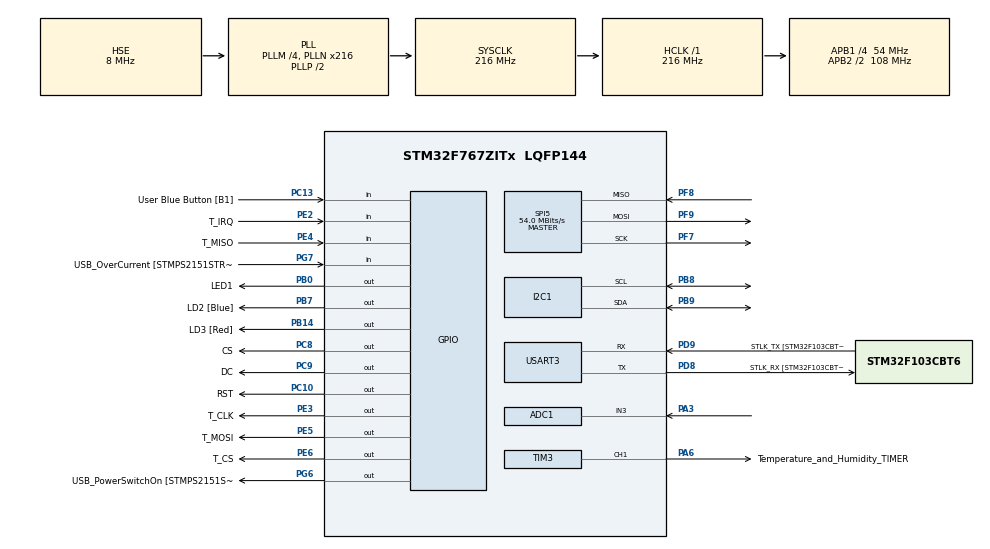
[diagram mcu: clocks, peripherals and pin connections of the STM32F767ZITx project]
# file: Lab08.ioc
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ADC1.Channel-0\#ChannelRegularConversion=ADC_CHANNEL_3
ADC1.ContinuousConvMode=DISABLE
ADC1.EOCSelection=ADC_EOC_SEQ_CONV
ADC1.ExternalTrigConv=ADC_EXTERNALTRIGCONV_T2_TRGO
ADC1.NbrOfConversionFlag=1
ADC1.Rank-0\#ChannelRegularConversion=1
ADC1.SamplingTime-0\#ChannelRegularConversion=ADC_SAMPLETIME_28CYCLES
ADC1.master=1
CORTEX_M7.ART_ACCLERATOR_ENABLE=1
CORTEX_M7.CPU_DCache=Enabled
CORTEX_M7.CPU_ICache=Enabled
CORTEX_M7.PREFETCH_ENABLE=1
I2C1.Timing=0x20404768
Mcu.Family=STM32F7
Mcu.Name=STM32F767ZITx
Mcu.Package=LQFP144
NVIC.ADC_IRQn=true\:2\:0\:true\:false\:true\:true\:true\:true
NVIC.I2C1_ER_IRQn=true\:0\:0\:false\:false\:true\:true\:true\:true
NVIC.I2C1_EV_IRQn=true\:0\:0\:false\:false\:true\:true\:true\:true
NVIC.PriorityGroup=NVIC_PRIORITYGROUP_4
NVIC.TIM3_IRQn=true\:1\:0\:true\:false\:true\:true\:true\:true
PA1.GPIO_Label=RMII_REF_CLK [LAN8742A-CZ-TR_REFCLK0]
PA1.Signal=ETH_REF_CLK
PA13.GPIO_Label=TMS
PA13.Mode=Serial_Wire
PA13.Signal=SYS_JTMS-SWDIO
PA14.GPIO_Label=TCK
PA14.Mode=Serial_Wire
PA14.Signal=SYS_JTCK-SWCLK
PA2.GPIO_Label=RMII_MDIO [LAN8742A-CZ-TR_MDIO]
PA2.Signal=ETH_MDIO
PA3.Signal=ADCx_IN3
PA5.Signal=S_TIM2_CH1_ETR
PA6.GPIO_Label=Temperature_and_Humidity_TIMER
PA6.GPIO_Speed=GPIO_SPEED_FREQ_VERY_HIGH
PA6.Signal=S_TIM3_CH1
PA7.GPIO_Label=RMII_CRS_DV [LAN8742A-CZ-TR_CRS_DV]
PA7.Signal=ETH_CRS_DV
PB0.GPIO_Label=LED1
PB0.Signal=GPIO_Output
PB10.Signal=I2C2_SCL
PB11.Signal=I2C2_SDA
PB13.GPIO_Label=RMII_TXD1 [LAN8742A-CZ-TR_TXD1]
PB13.Signal=ETH_TXD1
PB14.GPIO_Label=LD3 [Red]
PB14.Signal=GPIO_Output
PB3.GPIO_Label=SWO
PB3.Signal=SYS_JTDO-SWO
PB6.GPIO_FM6=__NULL
PB6.GPIO_Label=LCD_LED_BACKLIGHT
PB6.GPIO_Speed=GPIO_SPEED_FREQ_VERY_HIGH
PB6.Signal=S_TIM4_CH1
PB7.GPIO_Label=LD2 [Blue]
PB7.Signal=GPIO_Output
PB8.GPIO_Speed=GPIO_SPEED_FREQ_VERY_HIGH
PB8.Mode=I2C
PB8.Signal=I2C1_SCL
PB9.GPIO_Speed=GPIO_SPEED_FREQ_VERY_HIGH
PB9.Mode=I2C
PB9.Signal=I2C1_SDA
PC1.GPIO_Label=RMII_MDC [LAN8742A-CZ-TR_MDC]
PC1.Signal=ETH_MDC
PC10.GPIO_Label=RST
PC10.GPIO_Speed=GPIO_SPEED_FREQ_VERY_HIGH
PC10.Signal=GPIO_Output
PC13.GPIO_Label=User Blue Button [B1]
PC13.Signal=GPIO_Input
PC14/OSC32_IN.Mode=LSE-External-Oscillator
PC14/OSC32_IN.Signal=RCC_OSC32_IN
PC15/OSC32_OUT.Mode=LSE-External-Oscillator
PC15/OSC32_OUT.Signal=RCC_OSC32_OUT
PC4.GPIO_Label=RMII_RXD0 [LAN8742A-CZ-TR_RXD0]
PC4.Signal=ETH_RXD0
PC5.GPIO_Label=RMII_RXD1 [LAN8742A-CZ-TR_RXD1]
PC5.Signal=ETH_RXD1
PC8.GPIO_Label=CS
PC8.GPIO_Speed=GPIO_SPEED_FREQ_VERY_HIGH
PC8.Signal=GPIO_Output
PC9.GPIO_Label=DC
PC9.GPIO_Speed=GPIO_SPEED_FREQ_VERY_HIGH
PC9.Signal=GPIO_Output
PD8.GPIO_Label=STLK_RX [STM32F103CBT6_PA3]
PD8.Mode=Asynchronous
PD8.Signal=USART3_TX
PD9.GPIO_Label=STLK_TX [STM32F103CBT6_PA2]
PD9.Mode=Asynchronous
PD9.Signal=USART3_RX
PE2.GPIO_Label=T_IRQ
PE2.Signal=GPIO_Input
PE3.GPIO_Label=T_CLK
PE3.GPIO_Speed=GPIO_SPEED_FREQ_VERY_HIGH
PE3.Signal=GPIO_Output
PE4.GPIO_Label=T_MISO
PE4.Signal=GPIO_Input
PE5.GPIO_Label=T_MOSI
PE5.GPIO_Speed=GPIO_SPEED_FREQ_VERY_HIGH
PE5.Signal=GPIO_Output
PE6.GPIO_Label=T_CS
PE6.GPIO_Speed=GPIO_SPEED_FREQ_VERY_HIGH
PE6.Signal=GPIO_Output
PF7.Mode=Full_Duplex_Master
PF7.Signal=SPI5_SCK
PF8.Mode=Full_Duplex_Master
PF8.Signal=SPI5_MISO
PF9.Mode=Full_Duplex_Master
PF9.Signal=SPI5_MOSI
PG11.GPIO_Label=RMII_TX_EN [LAN8742A-CZ-TR_TXEN]
PG11.Signal=ETH_TX_EN
PG13.GPIO_Label=RMII_TXD0 [LAN8742A-CZ-TR_TXD0]
PG13.Signal=ETH_TXD0
PG6.GPIO_Label=USB_PowerSwitchOn [STMPS2151STR_EN]
PG6.Signal=GPIO_Output
PG7.GPIO_Label=USB_OverCurrent [STMPS2151STR_FAULT]
PG7.Signal=GPIO_Input
PH0/OSC_IN.GPIO_Label=MCO [STM32F103CBT6_PA8]
PH0/OSC_IN.Mode=HSE-External-Clock-Source
PH0/OSC_IN.Signal=RCC_OSC_IN
PH1/OSC_OUT.Mode=HSE-External-Clock-Source
PH1/OSC_OUT.Signal=RCC_OSC_OUT
ProjectManager.HeapSize=0x200
ProjectManager.StackSize=0x400
ProjectManager.TargetToolchain=STM32CubeIDE
RCC.48MHZClocksFreq_Value=24000000
RCC.AHBFreq_Value=216000000
RCC.APB1CLKDivider=RCC_HCLK_DIV4
RCC.APB1Freq_Value=54000000
RCC.APB1TimFreq_Value=108000000
RCC.APB2CLKDivider=RCC_HCLK_DIV2
RCC.APB2Freq_Value=108000000
RCC.APB2TimFreq_Value=216000000
RCC.CortexFreq_Value=216000000
RCC.HCLKFreq_Value=216000000
RCC.HSE_VALUE=8000000
RCC.HSI_VALUE=16000000
RCC.PLLM=4
RCC.PLLMUL=RCC_PLL_MUL9
RCC.PLLN=216
RCC.PLLQ=9
RCC.PLLSourceVirtual=RCC_PLLSOURCE_HSE
RCC.PRESCALERUSB=RCC_USBCLKSOURCE_PLL_DIV1_5
RCC.SYSCLKFreq_VALUE=216000000
RCC.SYSCLKSource=RCC_SYSCLKSOURCE_PLLCLK
RCC.SYSCLKSourceVirtual=RCC_SYSCLKSOURCE_PLLCLK
RCC.USBFreq_Value=48000000
RCC.VCOOutputFreq_Value=432000000
SH.ADCx_IN3.0=ADC1_IN3,IN3
SH.S_TIM2_CH1_ETR.0=TIM2_CH1
SH.S_TIM3_CH1.0=TIM3_CH1,PWM Generation1 CH1
SH.S_TIM4_CH1.0=TIM4_CH1
SPI5.CalculateBaudRate=54.0 MBits/s
SPI5.DataSize=SPI_DATASIZE_8BIT
SPI5.Direction=SPI_DIRECTION_2LINES
SPI5.Mode=SPI_MODE_MASTER
SPI5.NSSPMode=SPI_NSS_PULSE_DISABLE
SPI5.VirtualType=VM_MASTER
TIM1.ClockDivision=TIM_CLOCKDIVISION_DIV2
TIM1.Period=0
TIM1.Prescaler=10000-1
TIM2.Period=10000-1
TIM2.Prescaler=10800-1
TIM2.TIM_MasterOutputTrigger=TIM_TRGO_UPDATE
TIM3.Channel-PWM\ Generation1\ CH1=TIM_CHANNEL_1
TIM3.Period=10000-1
TIM3.Prescaler=10800-1
TIM3.Pulse-PWM\ Generation1\ CH1=10000/4-1
USART3.VirtualMode-Asynchronous=VM_ASYNC
VP_RNG_VS_RNG.Mode=RNG_Activate
VP_TIM1_VS_ClockSourceINT.Mode=Internal
VP_TIM2_VS_ClockSourceINT.Mode=Internal
VP_TIM3_VS_ClockSourceINT.Mode=Internal
board=NUCLEO-F767ZI

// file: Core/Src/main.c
/* USER CODE BEGIN Header */
/**
 ******************************************************************************
 * @file           : main.c
 * @brief          : Main program body
 ******************************************************************************
 * @attention
 *
 * Copyright (c) 2023 STMicroelectronics.
 * All rights reserved.
 *
 * This software is licensed under terms that can be found in the LICENSE file
 * in the root directory of this software component.
 * If no LICENSE file comes with this software, it is provided AS-IS.
 *
 ******************************************************************************
 */
/* USER CODE END Header */
#include "main.h"
#include "adc.h"
#include "i2c.h"
#include "rng.h"
#include "spi.h"
#include "tim.h"
#include "usart.h"
#include "gpio.h"

/* USER CODE BEGIN Includes */
#include "stdio.h"
#include "string.h"

#include "ILI9341_Touchscreen.h"
#include "ILI9341_STM32_Driver.h"
#include "ILI9341_GFX.h"

#include "snow_tiger.h"

#include "Utilities/my_lcd.h"
#include "Utilities/my_basic.h"
#include "Utilities/my_picture.h"

/* USER CODE END Includes */

/* USER CODE BEGIN PD */
typedef struct _ColorInfo
{
	Circle circle;
	uint16_t color;
	float intensity;
} ColorInfo ;

typedef struct _StudentInfo
{
	char group[20];
	char firstName[30];
	char lastName[30];
	char id[10];
	Image image;
} StudentInfo;

/* USER CODE END PD */

/* USER CODE BEGIN PV */
const uint8_t SCREEN_ROTATION = SCREEN_HORIZONTAL_1;

uint32_t countSecondInStudentPage = 0;

const uint16_t BRIGHT_RED = 0xff3c;
const uint16_t BRIGHT_GREEN = 0xcff9;
const uint16_t BRIGHT_BLUE = 0xe73f;

/* USER CODE END PV */

void SystemClock_Config(void);

/* USER CODE BEGIN 0 */
void getTemperatureText(float temperature, char *temperatureString) {
	sprintf(temperatureString, "%.1f C", temperature);
}

void getHumidityText(float humidity, char *humidityString) {
	sprintf(humidityString, "%.1f %%RH", humidity);
}

uint16_t convertColorToRgb565(float redIntensity, float greenIntensity, float blueIntensity) {
  uint16_t red = (uint16_t)(redIntensity * 31.0 + 0.5);
  uint16_t green = (uint16_t)(greenIntensity * 63.0 + 0.5);
  uint16_t blue = (uint16_t)(blueIntensity * 31.0 + 0.5);

  uint16_t color = (red << 11) | (green << 5) | blue;

  return color;
}

Rectangle createColorBox(Circle circle)
{
	const uint16_t BOX_WIDTH = 130;
	const uint16_t BOX_HEIGHT = 20;
	const uint16_t GAP_X_CIRCLE_AND_BOX = 15;

	Rectangle rectangle = {
			getCircleEdgeX(circle) + GAP_X_CIRCLE_AND_BOX,
			circle.y - (circle.radius / 2),
			getCircleEdgeX(circle) + GAP_X_CIRCLE_AND_BOX + BOX_WIDTH,
			circle.y + BOX_HEIGHT
	};
	return rectangle;
}

Rectangle createColorIntensityBar(Rectangle refRectangle, float colorIntensity)
{
//	const uint16_t BOX_WIDTH = 130;

	Rectangle intensityBar = {
			refRectangle.x0,
			refRectangle.y0,
			refRectangle.x0 + (int) (colorIntensity * (refRectangle.x1 - refRectangle.x0)),
			refRectangle.y1
	};
	return intensityBar;
}

void drawColorIntensityBar(Rectangle colorBox, ColorInfo colorInfo, uint16_t brightColor)
{

	Rectangle colorIntensityBar = createColorIntensityBar(colorBox, colorInfo.intensity);

	drawFilledRectangleAtCoord(colorBox, brightColor);
	drawFilledRectangleAtCoord(colorIntensityBar, colorInfo.color);
}

void drawColorIntensityPercentageText(Rectangle colorBox, ColorInfo colorInfo)
{
	char text[10];
	const uint8_t GAP_X_BOX_AND_PERCENTAGE = 10;
	const uint8_t COLOR_PERCENTAGE_FONT_SIZE = 2;

	Point percentagePoint = {colorBox.x1 + GAP_X_BOX_AND_PERCENTAGE, colorBox.y0};
	Rectangle clearArea = {percentagePoint.x, percentagePoint.y, percentagePoint.x + 50, percentagePoint.y + 20};

	sprintf(text, "%d%%", (int) (colorInfo.intensity * 100));

	clearScreenArea(clearArea, WHITE);
	drawTextAtPoint(text, percentagePoint, COLOR_PERCENTAGE_FONT_SIZE);
}

void drawHueCircle(ColorInfo mixedColorInfo)
{
	drawFilledCircleAtCoord(mixedColorInfo.circle, mixedColorInfo.color);
}

void drawColorInfo(ColorInfo colorInfo, uint16_t brightColor)
{
	Rectangle boxArea = createColorBox(colorInfo.circle);
	drawFilledCircleAtCoord(colorInfo.circle, colorInfo.color);
	drawColorIntensityBar(boxArea, colorInfo, brightColor);
	drawColorIntensityPercentageText(boxArea, colorInfo);
}

void drawRgbInfo(ColorInfo redColor, ColorInfo greenColor, ColorInfo blueColor, ColorInfo mixedColor)
{
	drawHueCircle(mixedColor);
	drawColorInfo(redColor, BRIGHT_RED);
	drawColorInfo(greenColor, BRIGHT_GREEN);
	drawColorInfo(blueColor, BRIGHT_BLUE);
}

uint8_t isTouchWithinCircle(Circle circle, uint16_t xPos, uint16_t yPos)
{
	uint16_t xPositive = getCircleEdgeX(circle);
	uint16_t xNegative = getCircleEdgeXNegative(circle);
	uint16_t yPositive = getCircleEdgeY(circle);
	uint16_t yNegative = getCircleEdgeYNegative(circle);

	if (xPos > xNegative && xPos < xPositive && yPos > yNegative && yPos < yPositive)
	{
		return 1;
	} else
	{
		return 0;
	}
}

uint8_t isTouchWithinRectangle(Rectangle rectangle, uint16_t xPos, uint16_t yPos)
{
	if (xPos >= rectangle.x0 && xPos <= rectangle.x1 && yPos <= rectangle.y1 && yPos >= rectangle.y0)
	{
		return 1;
	} else
	{
		return 0;
	}

}

void addColorIntensity(ColorInfo *colorInfo)
{
	const float MAX_INTENSITY = 1.0;
	const float STEP_INTENSITY = 0.1;

	if (colorInfo->intensity >= MAX_INTENSITY) {
		colorInfo->intensity = 0.0;
	} else
	{
		colorInfo->intensity += STEP_INTENSITY;
	}
}

void drawTouchPosition(uint16_t xPos, uint16_t yPos)
{
	char text[20];
	sprintf(text, "T: (%d,%d)", xPos, yPos);
	drawText(text, 50, 180, 3);
}

void checkTouchHueCircle(ColorInfo *redColor, ColorInfo *greenColor, ColorInfo *blueColor, ColorInfo *mixedColor)
{
	uint16_t xPos = 0;
	uint16_t yPos = 0;

	int isDisplaying = 1;

	while (isDisplaying) {
		HAL_Delay(10);

		if (TP_Touchpad_Pressed())
		{
			uint16_t position_array[2];

			if (TP_Read_Coordinates(position_array) == TOUCHPAD_DATA_OK)
			{
				if (SCREEN_ROTATION == SCREEN_HORIZONTAL_1)
				{
					xPos = position_array[1];
					yPos = SCREEN_HEIGHT - position_array[0];
				} else if (SCREEN_ROTATION == SCREEN_HORIZONTAL_2)
				{
					xPos = SCREEN_WIDTH - position_array[1];
					yPos = position_array[0];
				}
			}

			if (isTouchWithinCircle(redColor->circle, xPos, yPos))
			{
				addColorIntensity(redColor);
				drawColorInfo(*redColor, BRIGHT_RED);
			} else if (isTouchWithinCircle(greenColor->circle, xPos, yPos))
			{
				addColorIntensity(greenColor);
				drawColorInfo(*greenColor, BRIGHT_GREEN);
			} else if (isTouchWithinCircle(blueColor->circle, xPos, yPos))
			{
				addColorIntensity(blueColor);
				drawColorInfo(*blueColor, BRIGHT_BLUE);
			} else if (isTouchWithinCircle(mixedColor->circle, xPos, yPos))
			{
				isDisplaying = 0;
			}

			mixedColor->color = convertColorToRgb565(redColor->intensity, greenColor->intensity, blueColor->intensity);
			drawHueCircle(*mixedColor);
		}
	}
}

void startTimerInStudentInfoPage()
{
	countSecondInStudentPage = 0;
	HAL_TIM_Base_Init(&htim2);
	HAL_TIM_Base_Start(&htim2);
	HAL_ADC_Start_IT(&hadc1);
}

void stopTimerInStudentInfoPage()
{
	HAL_TIM_Base_DeInit(&htim2);
	HAL_ADC_Stop_IT(&hadc1);
}

void startTimerOnSensor()
{
	HAL_TIM_Base_Start_IT(&htim3);
}

void stopTimerOnSensor()
{
	HAL_TIM_Base_Stop_IT(&htim3);
}

void drawColorInfoPage(ColorInfo *redColor, ColorInfo *greenColor, ColorInfo *blueColor, ColorInfo *mixedColor)
{
	fillScreenColor(WHITE);
	setRotation(SCREEN_ROTATION);

	startTimerOnSensor();
	drawRgbInfo(*redColor, *greenColor, *blueColor, *mixedColor);
	checkTouchHueCircle(redColor, greenColor, blueColor, mixedColor);
	stopTimerOnSensor();
}

void drawStudentInfoText(StudentInfo studentInfo, Point endImagePoint, uint16_t textColor)
{
	const int LINE_SPACEING_SIZE = 40;
	const int FONT_SIZE = 2;

	Point infoPoint =
	{
			endImagePoint.x + 4,
			50
	};

	drawTextWithColor(studentInfo.group, infoPoint.x, infoPoint.y, textColor, FONT_SIZE, WHITE);
	drawTextWithColor(studentInfo.firstName, infoPoint.x, infoPoint.y + LINE_SPACEING_SIZE, textColor, FONT_SIZE, WHITE);
	drawTextWithColor(studentInfo.lastName, infoPoint.x, infoPoint.y + 2 *LINE_SPACEING_SIZE, textColor, FONT_SIZE, WHITE);
	drawTextWithColor(studentInfo.id, infoPoint.x, infoPoint.y + 3*LINE_SPACEING_SIZE, textColor, FONT_SIZE, WHITE);
}

void drawStudentInfoPage(StudentInfo studentInfo, ColorInfo colorInfo)
{

	fillScreenColor(WHITE);
	setRotation(SCREEN_ROTATION);
	Image *image = &studentInfo.image;

	Point endImagePoint = {
			image->drawPoint.x + image->width,
			image->drawPoint.y + image->height
	};
	Rectangle imageArea = getImageArea(*image);

	drawImageAtPoint(*image, SCREEN_ROTATION);
	drawStudentInfoText(studentInfo, endImagePoint, colorInfo.color);

	uint16_t xPos = 0;
	uint16_t yPos = 0;

	const uint32_t TIMER_IN_SECOND = 4;

	startTimerInStudentInfoPage();

	int isDisplaying = 1;
	while (isDisplaying) {
		char txt[20];
//		sprintf(txt, "Count: %d", (int) countSecondInStudentPage);
//		drawText(txt, 10, 200, 3);
		if (countSecondInStudentPage > TIMER_IN_SECOND)
		{
			isDisplaying = 0;
		} else if (TP_Touchpad_Pressed())
		{
			uint16_t position_array[2];

			if (TP_Read_Coordinates(position_array) == TOUCHPAD_DATA_OK)
			{
				if (SCREEN_ROTATION == SCREEN_HORIZONTAL_1)
				{
					xPos = position_array[1];
					yPos = SCREEN_HEIGHT - position_array[0];
				} else if (SCREEN_ROTATION == SCREEN_HORIZONTAL_2)
				{
					xPos = SCREEN_WIDTH - position_array[1];
					yPos = position_array[0];
				}
			}

			if (isTouchWithinRectangle(imageArea, xPos, yPos))
			{
				isDisplaying = 0;
			}
		}
	}

	stopTimerInStudentInfoPage();
}

void drawTemperatureTextAtPoint(float temperature, Point temperaturePosition)
{
	char temperatureText[10];
	Rectangle temperatureArea = { temperaturePosition.x, temperaturePosition.y, temperaturePosition.x + 82, temperaturePosition.y + 20};

	clearScreenArea(temperatureArea, WHITE);
	getTemperatureText(temperature, temperatureText);
	drawTextAtPoint(temperatureText, temperaturePosition, 2);
}

void drawHumidityTextAtPoint(float humidity, Point humidityPosition)
{
	char temperatureText[10];
	Rectangle temperatureArea = { humidityPosition.x, humidityPosition.y, humidityPosition.x + 82, humidityPosition.y + 20};

	clearScreenArea(temperatureArea, WHITE);
	getHumidityText(humidity, temperatureText);
	drawTextAtPoint(temperatureText, humidityPosition, 2);
}

// For LED Backlight - not finished yet
void setLedBacklightIntensity(PwmInfo *ledBacklight, float dutyCycle)
{
	ledBacklight->timer->Instance->CCMR3 = (10000-1) * dutyCycle;
	HAL_TIM_PWM_Start(ledBacklight->timer, ledBacklight->timerChannel);
}

void HAL_ADC_ConvCpltCallback(ADC_HandleTypeDef* hadc)
{
	if(hadc == &hadc1)
	{
		countSecondInStudentPage++;
	};
}

void HAL_TIM_PeriodElapsedCallback (TIM_HandleTypeDef *htim)
{
	static int countTimer = 0;
	static float temperature = 10.5;
	static float humidity = 20.5;
	static uint8_t cmdBuffer[3];
	static uint8_t dataBuffer[8];

	static int isSetCommand = 0;
	if (!isSetCommand)
	{
		char text[50];
		sprintf(text, "AM2320 I2C DEMO Starting ...");
		printOutLine(text);

		AM2320_setCommand(cmdBuffer);
		isSetCommand = 1;
	}

	if (htim == &htim3)
	{
		countTimer++;

		Point temperaturePosition = { 25, 30 };
		Point humidityPosition = { SCREEN_WIDTH / 2 + 10, 30 };

		AM2320_startSensor(&hi2c1, cmdBuffer, dataBuffer);
		AM2320_getTemperatureAndHumidity(&temperature, &humidity, dataBuffer);

		drawTemperatureTextAtPoint(temperature, temperaturePosition);
		drawHumidityTextAtPoint(humidity, humidityPosition);
	}
}

/* USER CODE END 0 */

int main(void)
{

  /* Enable I-Cache---------------------------------------------------------*/
  SCB_EnableICache();

  /* Enable D-Cache---------------------------------------------------------*/
  SCB_EnableDCache();

  /* MCU Configuration--------------------------------------------------------*/

  /* Reset of all peripherals, Initializes the Flash interface and the Systick. */
  HAL_Init();

  /* Configure the system clock */
  SystemClock_Config();

  /* Initialize all configured peripherals */
  MX_GPIO_Init();
  MX_USART3_UART_Init();
  MX_SPI5_Init();
  MX_TIM1_Init();
  MX_RNG_Init();
  MX_I2C1_Init();
  MX_TIM2_Init();
  MX_ADC1_Init();
  MX_TIM3_Init();
  /* USER CODE BEGIN 2 */
	ILI9341_Init(); // initial driver setup to drive ili9341

	const uint16_t COLOR_CIRCLE_RADIUS = 22;

	ColorInfo redColor = {
			{ 30, SCREEN_HEIGHT / 4 + 35, COLOR_CIRCLE_RADIUS },
			RED,
			0
	};
	ColorInfo greenColor = {
			{ 30, getCircleEdgeY(redColor.circle) + COLOR_CIRCLE_RADIUS + 15, COLOR_CIRCLE_RADIUS },
			GREEN,
			0
	};
	ColorInfo blueColor = {
			{ 30, getCircleEdgeY(greenColor.circle) + COLOR_CIRCLE_RADIUS + 15, COLOR_CIRCLE_RADIUS },
			BLUE,
			0
	};
	ColorInfo mixedColor = {
			{ SCREEN_WIDTH / 2 - 25, 45, 25 },
			convertColorToRgb565(redColor.intensity, greenColor.intensity, blueColor.intensity),
			0
	};

	Point redPandaImagePoint = { 10, 30 };
	Image redPandaImage = {
			(const char*) redPandaPic,
			redPandaImagePoint,
			120,
			181
	};

//	Point sunImagePoint = {30, 30};
//	Image sunImage = {
//			(const char*) sunPic,
//			sunImagePoint,
//			120,
//			160
//	};

	StudentInfo myInfo =
	{
			"Group No.17",
			"Jiraphat",
			"Vorasetiri",
			"64011071",
			redPandaImage
	};
  /* USER CODE END 2 */

  /* Infinite loop */
	while (1)
	{

    /* USER CODE BEGIN 3 */
		drawColorInfoPage(&redColor, &greenColor, &blueColor, &mixedColor);
		drawStudentInfoPage(myInfo, mixedColor);
		delay(10);
	}
  /* USER CODE END 3 */
}

void SystemClock_Config(void)
{
  RCC_OscInitTypeDef RCC_OscInitStruct = {0};
  RCC_ClkInitTypeDef RCC_ClkInitStruct = {0};

  /** Configure LSE Drive Capability
  */
  HAL_PWR_EnableBkUpAccess();

  /** Configure the main internal regulator output voltage
  */
  __HAL_RCC_PWR_CLK_ENABLE();
  __HAL_PWR_VOLTAGESCALING_CONFIG(PWR_REGULATOR_VOLTAGE_SCALE1);

  /** Initializes the RCC Oscillators according to the specified parameters
  * in the RCC_OscInitTypeDef structure.
  */
  RCC_OscInitStruct.OscillatorType = RCC_OSCILLATORTYPE_HSE;
  RCC_OscInitStruct.HSEState = RCC_HSE_BYPASS;
  RCC_OscInitStruct.PLL.PLLState = RCC_PLL_ON;
  RCC_OscInitStruct.PLL.PLLSource = RCC_PLLSOURCE_HSE;
  RCC_OscInitStruct.PLL.PLLM = 4;
  RCC_OscInitStruct.PLL.PLLN = 216;
  RCC_OscInitStruct.PLL.PLLP = RCC_PLLP_DIV2;
  RCC_OscInitStruct.PLL.PLLQ = 9;
  RCC_OscInitStruct.PLL.PLLR = 2;
  if (HAL_RCC_OscConfig(&RCC_OscInitStruct) != HAL_OK)
  {
    Error_Handler();
  }

  /** Activate the Over-Drive mode
  */
  if (HAL_PWREx_EnableOverDrive() != HAL_OK)
  {
    Error_Handler();
  }

  /** Initializes the CPU, AHB and APB buses clocks
  */
  RCC_ClkInitStruct.ClockType = RCC_CLOCKTYPE_HCLK|RCC_CLOCKTYPE_SYSCLK
                              |RCC_CLOCKTYPE_PCLK1|RCC_CLOCKTYPE_PCLK2;
  RCC_ClkInitStruct.SYSCLKSource = RCC_SYSCLKSOURCE_PLLCLK;
  RCC_ClkInitStruct.AHBCLKDivider = RCC_SYSCLK_DIV1;
  RCC_ClkInitStruct.APB1CLKDivider = RCC_HCLK_DIV4;
  RCC_ClkInitStruct.APB2CLKDivider = RCC_HCLK_DIV2;

  if (HAL_RCC_ClockConfig(&RCC_ClkInitStruct, FLASH_LATENCY_7) != HAL_OK)
  {
    Error_Handler();
  }
}

void Error_Handler(void)
{
	__disable_irq();
	while (1) {
	}
}
